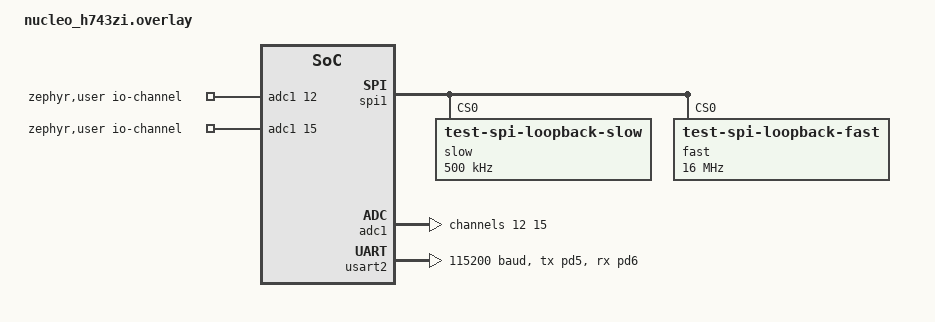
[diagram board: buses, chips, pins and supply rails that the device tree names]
/*
 * SPDX-License-Identifier: Apache-2.0
 */

#include <zephyr/dt-bindings/memory-attr/memory-attr-arm.h>

&dma1 {
	status = "okay";
};

&dma2 {
	status = "okay";
};

tst_dma0: &dmamux1 {
	status = "okay";
};

/* The BDMA driver expects the SRAM4 region
 * to be non-cachable.
 */
&sram4 {
	zephyr,memory-attr = <DT_MEM_ARM(ATTR_MPU_RAM_NOCACHE)>;
};

&bdma1 {
	status = "okay";
};

tst_dma1: &dmamux2 {
	status = "okay";
};

&pll {
	/delete-property/ div-q;
	div-q = <8>;
};

&sram2 {
	zephyr,memory-attr = <DT_MEM_ARM(ATTR_MPU_RAM_NOCACHE)>;
};

&spi1 {
	dmas = <&dmamux1 0 38 (STM32_DMA_PERIPH_TX | STM32_DMA_PRIORITY_HIGH)>,
	       <&dmamux1 1 37 (STM32_DMA_PERIPH_RX | STM32_DMA_PRIORITY_HIGH)>;
	dma-names = "tx", "rx";
	slow@0 {
		compatible = "test-spi-loopback-slow";
		reg = <0>;
		spi-max-frequency = <500000>;
	};
	fast@0 {
		compatible = "test-spi-loopback-fast";
		reg = <0>;
		spi-max-frequency = <16000000>;
	};
};

&dmamux1 {
	status = "okay";
};

/ {
	zephyr,user {
		io-channels = <&adc1 12>, <&adc1 15>;
	};
};

&adc1 {
	dmas = <&dmamux1 0 9 (STM32_DMA_PERIPH_RX | STM32_DMA_MEM_16BITS |
			      STM32_DMA_PERIPH_16BITS)>;
	dma-names = "dmamux";
	#address-cells = <1>;
	#size-cells = <0>;
	channel@c {
		reg = <12>;
		zephyr,gain = "ADC_GAIN_1";
		zephyr,reference = "ADC_REF_INTERNAL";
		zephyr,acquisition-time = <ADC_ACQ_TIME_DEFAULT>;
		zephyr,resolution = <16>;
	};
	channel@f {
		reg = <15>;
		zephyr,gain = "ADC_GAIN_1";
		zephyr,reference = "ADC_REF_INTERNAL";
		zephyr,acquisition-time = <ADC_ACQ_TIME_DEFAULT>;
		zephyr,resolution = <16>;
	};
};

dut: &usart2 {
	dmas = <&dmamux1 2 44 STM32_DMA_PERIPH_TX>,
	       <&dmamux1 3 43 STM32_DMA_PERIPH_RX>;
	dma-names = "tx", "rx";
	pinctrl-0 = <&usart2_tx_pd5 &usart2_rx_pd6>;
	pinctrl-names = "default";
	current-speed = <115200>;
	status = "okay";
};
